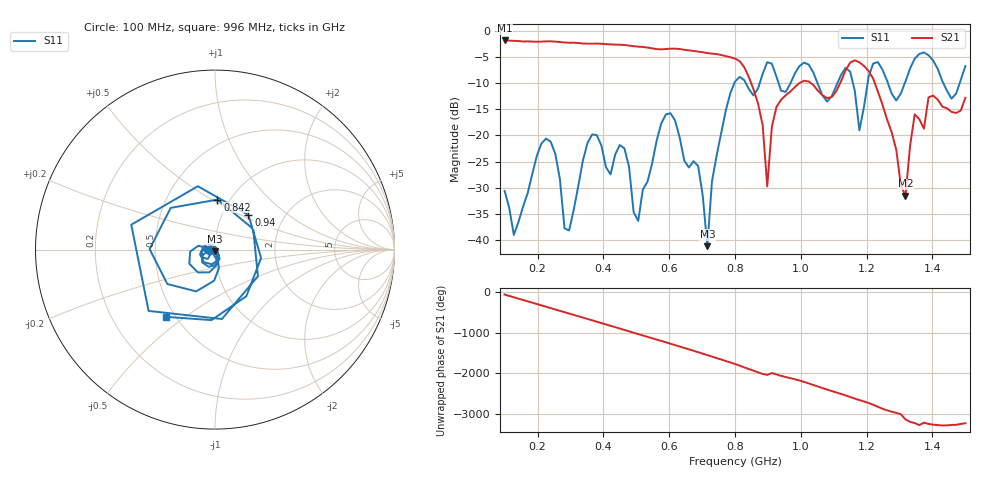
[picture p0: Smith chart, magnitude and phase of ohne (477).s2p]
! NanoVNA-App
! Date: 2025-09-25 14:24:31
! Start: 100MHz Stop: 1,5GHz Points: 101
! S-Parameter data: F S11 S21 S12 S22
# Hz S RI R 50
!  Frequency  S11_Real  S11_Imag  S21_Real  S21_Imag  S12_Real  S12_Imag  S22_Real  S22_Imag
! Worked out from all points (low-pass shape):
!   101 points, 100 MHz to 1.5 GHz, reference 50 ohm
!   highest |S21| = -1.79 dB at 100 MHz (marker M1); lowest = -31.6 dB at 1.318 GHz (marker M2)
!   |S21| within 3 dB of the highest: start of sweep to 771.7 MHz
!   lowest |S11| = -41.2 dB at 716 MHz (marker M3), VSWR 1.02, Z = 49.8 - j0.837 ohm
!   |S11| at or under -10 dB: start of sweep to 798 MHz; 833 MHz to 875 MHz (42.05 MHz wide, 4.92 % of centre); 1.051 GHz to 1.111 GHz (60.29 MHz wide, 5.58 % of centre) (the widest 3 of 7)
!   S12 and S22 are empty: the file has one direction only
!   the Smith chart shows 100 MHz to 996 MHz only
!   S11 on the Smith chart (normalised r, x): 100 MHz: 0.94, -0.01; 842 MHz: 0.88, +0.53; 940 MHz: 1.33, +0.55; 996 MHz: 0.45, -0.43
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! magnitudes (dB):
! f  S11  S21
! 100 MHz  -30.6  -1.8
! 128 MHz  -39.1  -1.9
! 226 MHz  -20.6  -2.0
! 296 MHz  -38.2  -2.2
! 338 MHz  -24.8  -2.4
! 464 MHz  -22.5  -2.7
! 506 MHz  -36.4  -3.0
! 576 MHz  -17.7  -3.5
! 688 MHz  -25.9  -3.9
! 716 MHz  -41.2  -4.2
! 800 MHz  -9.7  -5.3
! 842 MHz  -11.1  -8.8
! 898 MHz  -6.0  -29.8
! 940 MHz  -11.4  -13.2
! 996 MHz  -6.7  -10.0
! 1.038 GHz  -7.9  -10.3
! 1.178 GHz  -19.0  -6.0
! 1.22 GHz  -6.2  -9.1
! 1.276 GHz  -12.0  -19.4
! 1.318 GHz  -9.6  -31.6
! 1.346 GHz  -5.3  -15.9
! 1.5 GHz  -6.7  -12.8
